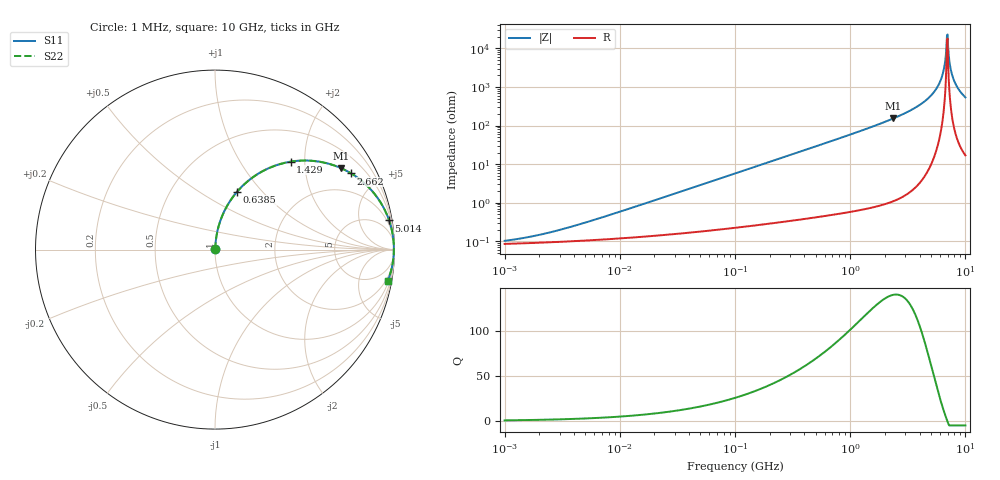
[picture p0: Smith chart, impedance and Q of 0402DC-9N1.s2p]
# MHz  S  MA  R  50
!Freq  MagS11  AngS11  MagS21  AngS21  MagS12  AngS12  MagS22  AngS22
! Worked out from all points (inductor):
!   801 points, 1 MHz to 10 GHz, reference 50 ohm
!   read as one part in series: L = 9.1 nH near 5.624 MHz
!   highest Q = 140 at 2.372 GHz (marker M1), where L = 10.3 nH
!   self-resonance near 6.921 GHz
!   S11 on the Smith chart (normalised r, x): 1 MHz: 1.00, +0.00; 638.5 MHz: 1.01, +0.74; 1.429 GHz: 1.01, +1.71; 2.662 GHz: 1.03, +3.56; 5.014 GHz: 1, +12; 10 GHz: 1, -11
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1  0.001026 33.8  0.9991 -0.0  0.9991 -0.0  0.001026 33.8
2.041806  0.001484 51.7  0.9991 -0.1  0.9991 -0.1  0.001484 51.7
4.67769  0.002863 68.8  0.999 -0.2  0.999 -0.2  0.002863 68.8
21.6303  0.01243 82.8  0.9985 -0.7  0.9985 -0.7  0.01243 82.8
100.0216  0.05702 84.5  0.9962 -3.3  0.9962 -3.3  0.05702 84.5
467.8699  0.2586 74.2  0.9621 -15.0  0.9621 -15.0  0.2586 74.2
638.4567  0.3441 69.2  0.9346 -20.1  0.9346 -20.1  0.3441 69.2
1429.38  0.6464 49.3  0.7576 -40.3  0.7576 -40.3  0.6464 49.3
2163.497  0.8048 36.0  0.5878 -53.6  0.5878 -53.6  0.8048 36.0
2372.237  0.8351 33.0  0.5442 -56.6  0.5442 -56.6  0.8351 33.0
2661.709  0.8695 29.2  0.4878 -60.4  0.4878 -60.4  0.8695 29.2
3847.406  0.9511 17.5  0.3004 -72.0  0.3004 -72.0  0.9511 17.5
5013.874  0.9836 9.5  0.1653 -79.6  0.1653 -79.6  0.9836 9.5
6097.859  0.9948 3.8  0.06663 -83.6  0.06663 -83.6  0.9948 3.8
6459.197  0.9962 2.2  0.03782 -83.1  0.03782 -83.1  0.9962 2.2
6763.624  0.9966 0.8  0.01498 -76.5  0.01498 -76.5  0.9966 0.8
7001.324  0.9966 -0.2  0.004327 37.9  0.004327 37.9  0.9966 -0.2
7247.377  0.9962 -1.1  0.02027 78.8  0.02027 78.8  0.9962 -1.1
7588.952  0.9953 -2.5  0.04317 82.5  0.04317 82.5  0.9953 -2.5
8038.648  0.9933 -4.1  0.07194 82.6  0.07194 82.6  0.9933 -4.1
8916.309  0.9876 -7.1  0.1239 80.7  0.1239 80.7  0.9876 -7.1
10000  0.9777 -10.5  0.1816 77.7  0.1816 77.7  0.9777 -10.5
